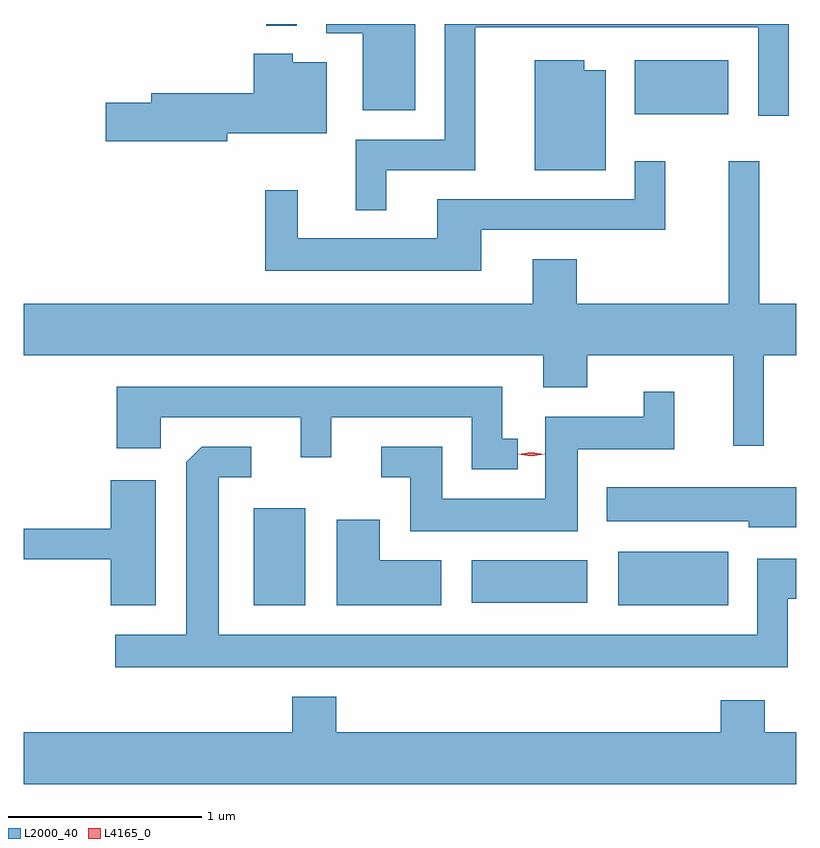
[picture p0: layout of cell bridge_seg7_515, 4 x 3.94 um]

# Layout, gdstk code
import gdstk
lib = gdstk.Library(unit=1e-6, precision=1e-09)
def R(c, l, rs):  # rectangles x0, y0, x1, y1
    for r in rs: c.add(gdstk.rectangle(r[:2], r[2:], *l))
def P(c, l, *ps):  # polygons
    for p in ps: c.add(gdstk.Polygon(p, *l))
L2000_40 = (2000, 40)
L4165_0 = (4165, 0)

bridge_seg7_515 = lib.new_cell('bridge_seg7_515')
R(bridge_seg7_515, L2000_40, [(867.601,1770.741,867.869,1771.244), (869.491,1770.741,870.059,1771.019), (868.731,1770.756,869.329,1770.974), (869.576,1773.286,870.059,1773.564), (867.666,1773.743,867.824,1773.753)])
P(bridge_seg7_515, L2000_40, [(868.289,1772.996),(868.749,1772.996),(868.749,1773.736),(870.216,1773.736),(870.216,1773.278),(870.374,1773.278),(870.374,1773.753),(868.591,1773.753),(868.591,1773.154),(868.131,1773.154),(868.131,1772.788),(868.289,1772.788)],
  [(868.439,1773.753),(867.976,1773.753),(867.976,1773.706),(868.166,1773.706),(868.166,1773.306),(868.439,1773.306)],
  [(867.464,1773.186),(867.979,1773.186),(867.979,1773.554),(867.804,1773.554),(867.804,1773.599),(867.601,1773.599),(867.601,1773.394),(867.071,1773.394),(867.071,1773.344),(866.836,1773.344),(866.836,1773.146),(867.464,1773.146)],
  [(869.424,1773.514),(869.314,1773.514),(869.314,1773.564),(869.056,1773.564),(869.056,1772.996),(869.424,1772.996)],
  [(868.779,1772.686),(869.734,1772.686),(869.734,1773.043),(869.576,1773.043),(869.576,1772.844),(868.551,1772.844),(868.551,1772.644),(867.829,1772.644),(867.829,1772.893),(867.661,1772.893),(867.661,1772.476),(868.779,1772.476)],
  [(870.244,1772.036),(870.411,1772.036),(870.411,1772.304),(870.219,1772.304),(870.219,1773.043),(870.061,1773.043),(870.061,1772.304),(869.274,1772.304),(869.274,1772.534),(869.046,1772.534),(869.046,1772.304),(866.411,1772.304),(866.411,1772.036),(869.101,1772.036),(869.101,1771.871),(869.329,1771.871),(869.329,1772.036),(870.086,1772.036),(870.086,1771.568),(870.244,1771.568)],
  [(868.968,1771.604),(868.889,1771.604),(868.889,1771.874),(866.891,1771.874),(866.891,1771.556),(867.119,1771.556),(867.119,1771.716),(867.846,1771.716),(867.846,1771.508),(868.004,1771.508),(868.004,1771.716),(868.731,1771.716),(868.731,1771.446),(868.968,1771.446)],
  [(869.279,1771.551),(869.779,1771.551),(869.779,1771.848),(869.621,1771.848),(869.621,1771.719),(869.111,1771.719),(869.111,1771.294),(868.579,1771.294),(868.579,1771.564),(868.263,1771.564),(868.263,1771.406),(868.411,1771.406),(868.411,1771.126),(869.279,1771.126)],
  [(870.369,1770.776),(870.411,1770.776),(870.411,1770.984),(870.211,1770.984),(870.211,1770.589),(867.419,1770.589),(867.419,1771.406),(867.588,1771.406),(867.588,1771.564),(867.332,1771.564),(867.251,1771.484),(867.251,1770.589),(866.883,1770.589),(866.883,1770.421),(870.369,1770.421)],
  [(867.094,1771.389),(866.861,1771.389),(866.861,1771.139),(866.411,1771.139),(866.411,1770.981),(866.861,1770.981),(866.861,1770.741),(867.094,1770.741)],
  [(870.411,1771.354),(869.431,1771.354),(869.431,1771.176),(870.166,1771.176),(870.166,1771.146),(870.411,1771.146)],
  [(868.574,1770.974),(868.254,1770.974),(868.254,1771.184),(868.031,1771.184),(868.031,1770.741),(868.574,1770.741)],
  [(870.411,1770.084),(870.249,1770.084),(870.249,1770.249),(870.021,1770.249),(870.021,1770.084),(868.029,1770.084),(868.029,1770.269),(867.801,1770.269),(867.801,1770.084),(866.411,1770.084),(866.411,1769.816),(870.411,1769.816)])
P(bridge_seg7_515, L4165_0, [(869.038,1771.514),(868.969,1771.523),(868.969,1771.524),(868.969,1771.524),(869.038,1771.534),(869.108,1771.524),(869.108,1771.524),(869.108,1771.523)])

lib.write_gds('bridge_seg7_515.gds')
